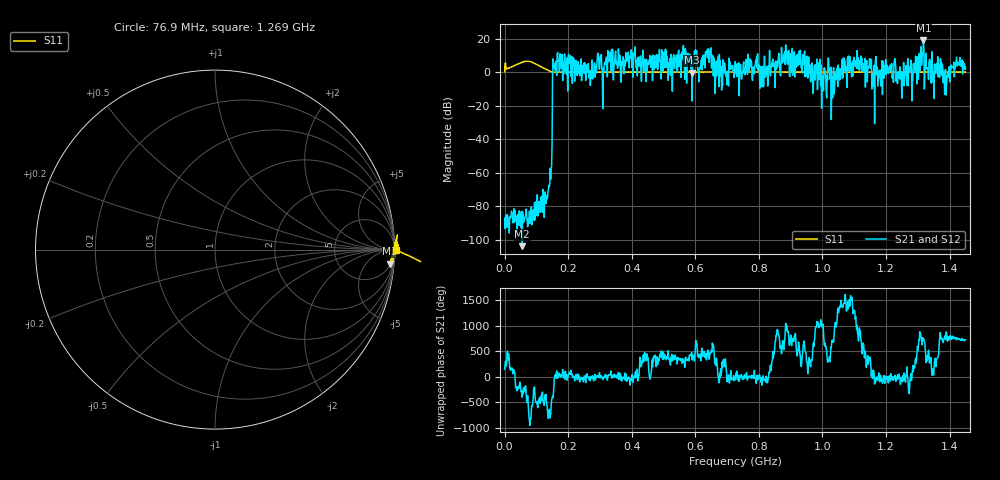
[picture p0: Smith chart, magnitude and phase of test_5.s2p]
! Created with skrf 1.11.0 (http://scikit-rf.org).
# Hz S RI R 50.0
!freq ReS11 ImS11 ReS21 ImS21 ReS12 ImS12 ReS22 ImS22
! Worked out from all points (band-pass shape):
!   1001 points, 50 kHz to 1.45 GHz, reference 50 ohm
!   highest |S21| = 18.94 dB at 1.318 GHz (marker M1); lowest = -103.9 dB at 55.15 MHz (marker M2)
!   |S21| within 3 dB of the highest: 562.6147 MHz to 562.6358 MHz (21.01 kHz wide, 0.00374 % of centre); 884.4776 MHz to 884.5904 MHz (112.8 kHz wide, 0.0128 % of centre) (the widest 2 of 3)
!   lowest |S11| = -0.2 dB at 588.7 MHz (marker M3), VSWR 91.88, Z = 313 - j1.16e+03 ohm
!   |S11| at or under -10 dB: nowhere
!   |S22| runs from - to - dB; largest |S21 - S12| = 0
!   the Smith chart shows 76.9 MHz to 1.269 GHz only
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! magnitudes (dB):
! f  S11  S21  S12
! 50 kHz  0.2  -87.1  -87.1
! 55.15 MHz  6.0  -103.9  -103.9
! 137.8 MHz  1.1  -70.1  -70.1
! 142.1 MHz  0.7  -66.7  -66.7
! 159.5 MHz  0.0  1.2  1.2
! 242.2 MHz  0.1  -5.1  -5.1
! 484.3 MHz  0.0  10.0  10.0
! 588.7 MHz  -0.2  6.2  6.2
! 642.4 MHz  0.1  7.8  7.8
! 667 MHz  0.2  -2.3  -2.3
! 725 MHz  0.1  6.3  6.3
! 822.2 MHz  0.2  -1.0  -1.0
! 887.4 MHz  0.0  12.7  12.7
! 967.2 MHz  0.1  5.5  5.5
! 1.035 GHz  0.0  2.7  2.7
! 1.105 GHz  0.0  6.9  6.9
! 1.182 GHz  0.1  1.3  1.3
! 1.209 GHz  0.1  -0.2  -0.2
! 1.253 GHz  0.0  -0.2  -0.2
! 1.318 GHz  0.0  18.9  18.9
! 1.388 GHz  0.1  1.6  1.6
! 1.45 GHz  0.0  3.1  3.1
